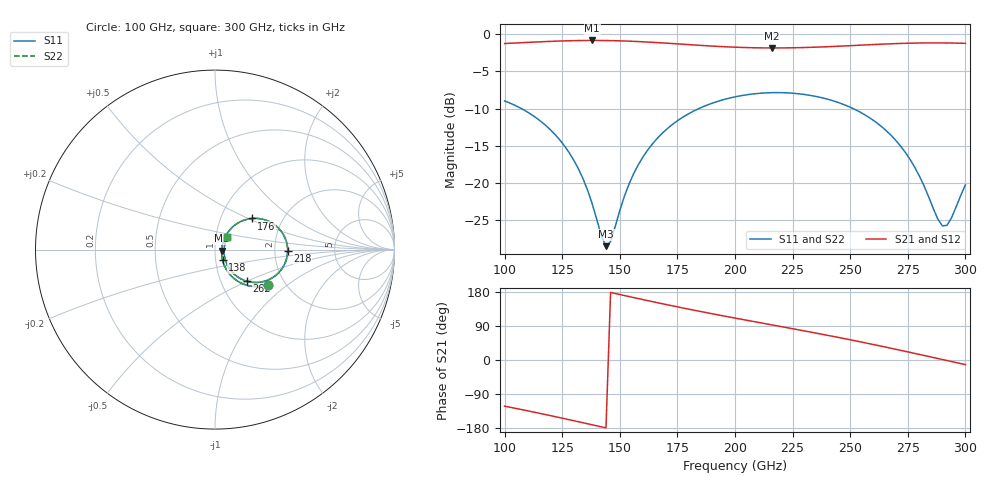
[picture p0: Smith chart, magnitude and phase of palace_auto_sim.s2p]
#  GHZ S DB R 50
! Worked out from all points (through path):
!   101 points, 100 GHz to 300 GHz, reference 50 ohm
!   highest |S21| = -0.82 dB at 138 GHz (marker M1); lowest = -1.8 dB at 216 GHz (marker M2)
!   group delay of S21, straight-line fit = 3.41 ps
!   lowest |S11| = -28.6 dB at 144 GHz (marker M3), VSWR 1.08, Z = 53.8 - j0.637 ohm
!   |S11| at or under -10 dB: 107.2 GHz to 184.4 GHz (77.15 GHz wide, 52.9 % of centre); 251.2 GHz to end of sweep
!   |S22| runs from -28.5 to -7.9 dB; largest |S21 - S12| = 1e-13
!   S11 on the Smith chart (normalised r, x): 100 GHz: 1.65, -0.73; 138 GHz: 1.08, -0.13; 176 GHz: 1.40, +0.52; 218 GHz: 2.36, -0.05; 262 GHz: 1.33, -0.50; 300 GHz: 1.14, +0.16
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100  -8.98 -33.2  -1.24 -121.7  -1.24 -121.7  -8.98 -33.2
120  -12.90 -53.2  -0.94 -146.9  -0.94 -146.9  -12.90 -53.2
128  -15.94 -59.1  -0.86 -157.5  -0.86 -157.5  -15.94 -59.1
134  -19.44 -59.8  -0.83 -165.6  -0.83 -165.6  -19.44 -59.8
138  -22.83 -54.3  -0.82 -171.0  -0.82 -171.0  -22.82 -54.3
144  -28.56 -9.1  -0.83 -179.1  -0.83 -179.1  -28.53 -9.2
146  -27.94 16.9  -0.84 178.2  -0.84 178.2  -27.92 16.7
152  -21.83 49.9  -0.90 170.1  -0.90 170.1  -21.82 49.7
156  -18.79 53.3  -0.94 164.7  -0.94 164.7  -18.79 53.1
168  -13.46 47.5  -1.14 149.1  -1.14 149.1  -13.46 47.4
176  -11.44 40.4  -1.30 139.0  -1.30 139.0  -11.44 40.2
200  -8.43 16.8  -1.73 110.6  -1.73 110.6  -8.43 16.7
216  -7.86 0.8  -1.83 92.7  -1.83 92.7  -7.86 0.7
218  -7.85 -1.2  -1.83 90.5  -1.83 90.5  -7.85 -1.3
234  -8.30 -17.4  -1.74 72.3  -1.74 72.3  -8.30 -17.5
248  -9.56 -31.5  -1.56 55.8  -1.56 55.8  -9.56 -31.6
262  -12.04 -44.8  -1.35 38.4  -1.35 38.4  -12.04 -44.9
268  -13.70 -49.5  -1.27 30.6  -1.27 30.6  -13.70 -49.6
278  -17.91 -52.6  -1.17 17.4  -1.17 17.4  -17.91 -52.8
290  -25.83 -9.9  -1.15 1.3  -1.15 1.3  -25.85 -10.1
294  -24.72 23.6  -1.17 -4.1  -1.17 -4.1  -24.74 23.5
300  -20.29 45.0  -1.21 -12.1  -1.21 -12.1  -20.30 44.9
